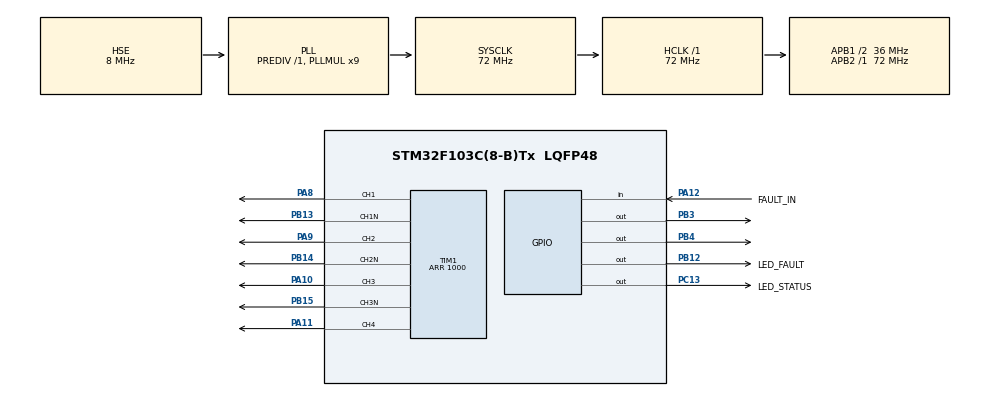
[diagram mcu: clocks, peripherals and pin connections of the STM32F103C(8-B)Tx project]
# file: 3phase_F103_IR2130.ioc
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Dma.Request0=TIM1_UP
Dma.TIM1_UP.0.Direction=DMA_MEMORY_TO_PERIPH
Dma.TIM1_UP.0.Instance=DMA1_Channel5
Dma.TIM1_UP.0.MemDataAlignment=DMA_MDATAALIGN_HALFWORD
Dma.TIM1_UP.0.MemInc=DMA_MINC_ENABLE
Dma.TIM1_UP.0.Mode=DMA_CIRCULAR
Dma.TIM1_UP.0.PeriphDataAlignment=DMA_PDATAALIGN_HALFWORD
Dma.TIM1_UP.0.PeriphInc=DMA_PINC_DISABLE
Dma.TIM1_UP.0.Priority=DMA_PRIORITY_LOW
Mcu.Family=STM32F1
Mcu.Name=STM32F103C(8-B)Tx
Mcu.Package=LQFP48
NVIC.DMA1_Channel5_IRQn=true\:0\:0\:false\:false\:true\:false\:true\:true
NVIC.PriorityGroup=NVIC_PRIORITYGROUP_4
PA10.Signal=S_TIM1_CH3
PA11.Signal=S_TIM1_CH4
PA12.GPIO_Label=FAULT_IN
PA12.Signal=GPIO_Input
PA13.Mode=Serial_Wire
PA13.Signal=SYS_JTMS-SWDIO
PA14.Mode=Serial_Wire
PA14.Signal=SYS_JTCK-SWCLK
PA8.Signal=S_TIM1_CH1
PA9.Signal=S_TIM1_CH2
PB12.GPIO_Label=LED_FAULT
PB12.Signal=GPIO_Output
PB13.Mode=PWM Generation1 CH1 CH1N
PB13.Signal=TIM1_CH1N
PB14.Mode=PWM Generation2 CH2 CH2N
PB14.Signal=TIM1_CH2N
PB15.Mode=PWM Generation3 CH3 CH3N
PB15.Signal=TIM1_CH3N
PB3.Signal=GPIO_Output
PB4.Signal=GPIO_Output
PC13-TAMPER-RTC.GPIO_Label=LED_STATUS
PC13-TAMPER-RTC.Signal=GPIO_Output
PD0-OSC_IN.Mode=HSE-External-Oscillator
PD0-OSC_IN.Signal=RCC_OSC_IN
PD1-OSC_OUT.Mode=HSE-External-Oscillator
PD1-OSC_OUT.Signal=RCC_OSC_OUT
ProjectManager.HeapSize=0x200
ProjectManager.StackSize=0x400
ProjectManager.TargetToolchain=STM32CubeIDE
RCC.AHBFreq_Value=72000000
RCC.APB1CLKDivider=RCC_HCLK_DIV2
RCC.APB1Freq_Value=36000000
RCC.APB1TimFreq_Value=72000000
RCC.APB2Freq_Value=72000000
RCC.APB2TimFreq_Value=72000000
RCC.HCLKFreq_Value=72000000
RCC.PLLMUL=RCC_PLL_MUL9
RCC.PLLSourceVirtual=RCC_PLLSOURCE_HSE
RCC.SYSCLKFreq_VALUE=72000000
RCC.SYSCLKSource=RCC_SYSCLKSOURCE_PLLCLK
RCC.USBFreq_Value=72000000
SH.S_TIM1_CH1.0=TIM1_CH1,PWM Generation1 CH1 CH1N
SH.S_TIM1_CH2.0=TIM1_CH2,PWM Generation2 CH2 CH2N
SH.S_TIM1_CH3.0=TIM1_CH3,PWM Generation3 CH3 CH3N
SH.S_TIM1_CH4.0=TIM1_CH4,PWM Generation4 CH4
TIM1.Channel-PWM\ Generation1\ CH1\ CH1N=TIM_CHANNEL_1
TIM1.Channel-PWM\ Generation2\ CH2\ CH2N=TIM_CHANNEL_2
TIM1.Channel-PWM\ Generation3\ CH3\ CH3N=TIM_CHANNEL_3
TIM1.Channel-PWM\ Generation4\ CH4=TIM_CHANNEL_4
TIM1.DeadTime=0
TIM1.OCIdleState_1=TIM_OCIDLESTATE_SET
TIM1.OCIdleState_2=TIM_OCIDLESTATE_SET
TIM1.OCIdleState_3=TIM_OCIDLESTATE_SET
TIM1.OCNIdleState_1=TIM_OCNIDLESTATE_SET
TIM1.OCNIdleState_2=TIM_OCNIDLESTATE_SET
TIM1.OCNIdleState_3=TIM_OCNIDLESTATE_SET
TIM1.OCNPolarity_1=TIM_OCNPOLARITY_LOW
TIM1.OCNPolarity_2=TIM_OCNPOLARITY_LOW
TIM1.OCNPolarity_3=TIM_OCNPOLARITY_LOW
TIM1.OCPolarity_1=TIM_OCPOLARITY_LOW
TIM1.OCPolarity_2=TIM_OCPOLARITY_LOW
TIM1.OCPolarity_3=TIM_OCPOLARITY_LOW
TIM1.OCPolarity_4=TIM_OCPOLARITY_HIGH
TIM1.Period=1000
board=custom

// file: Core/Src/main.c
/* USER CODE BEGIN Header */
/**
  ******************************************************************************
  * @file           : main.c
  * @brief          : Main program body
  ******************************************************************************
  * @attention
  *
  * Copyright (c) 2023 STMicroelectronics.
  * All rights reserved.
  *
  * This software is licensed under terms that can be found in the LICENSE file
  * in the root directory of this software component.
  * If no LICENSE file comes with this software, it is provided AS-IS.
  *
  ******************************************************************************
  */
/* USER CODE END Header */
#include "main.h"
#include "dma.h"
#include "tim.h"
#include "gpio.h"

/* USER CODE BEGIN Includes */
#include "luts.h"
/* USER CODE END Includes */

/* USER CODE BEGIN PD */
#define PWM_DMA_CHANELS 4

#define TABLE_SIZE (128*1)
#define BURST_SIZE (PWM_DMA_CHANELS * TABLE_SIZE)
/* USER CODE END PD */

/* USER CODE BEGIN PM */

#if (PWM_DMA_CHANELS == 3)
#define SCALE_3PHASE_AMPLITUDE scale_3phase_tables_half
//#define SCALE_3PHASE_AMPLITUDE scale_3phase_tables_zero
#define TIM_DMABURSTLENGTH_NUMBER_TRANSFERS TIM_DMABURSTLENGTH_3TRANSFERS
#elif (PWM_DMA_CHANELS == 4)
#define SCALE_4PHASE_AMPLITUDE scale_4phase_tables_half
//#define SCALE_4PHASE_AMPLITUDE scale_4phase_tables_zero
#define TIM_DMABURSTLENGTH_NUMBER_TRANSFERS TIM_DMABURSTLENGTH_4TRANSFERS
#else
#error "Unsupported number of PWM channels"
#endif

#define SQUEEZE 20 //Squeeze ratio
//#define BUILD_LUT LUT_sine_calculate
#define BUILD_LUT LUT_3sine_calculate
//#define BUILD_LUT LUT_triangle_calculate
//#define BUILD_LUT LUT_const_fill

/* USER CODE END PM */

/* USER CODE BEGIN PV */
/* Private variables ---------------------------------------------------------*/
uint16_t pwm_amplitude;
uint16_t BurstBuffer_reference[BURST_SIZE];
uint16_t BurstBuffer_1[BURST_SIZE];
uint16_t BurstBuffer_2[BURST_SIZE];
volatile uint8_t buffer_selected = 0;
volatile int16_t u_amp, v_amp, w_amp, t_amp;
/* USER CODE END PV */

void SystemClock_Config(void);

int main(void)
{

  /* MCU Configuration--------------------------------------------------------*/

  /* Reset of all peripherals, Initializes the Flash interface and the Systick. */
  HAL_Init();

  /* Configure the system clock */
  SystemClock_Config();

  /* Initialize all configured peripherals */
  MX_GPIO_Init();
  MX_DMA_Init();
  MX_TIM1_Init();
  /* USER CODE BEGIN 2 */

  LUT_set_squeeze(SQUEEZE);

  uint16_t DataArrayU[TABLE_SIZE];
  uint16_t DataArrayV[TABLE_SIZE];
  uint16_t DataArrayW[TABLE_SIZE];
  BUILD_LUT(DataArrayU, TABLE_SIZE, &pwm_amplitude, 0,   400);
  BUILD_LUT(DataArrayV, TABLE_SIZE, &pwm_amplitude, 120, 400);
  BUILD_LUT(DataArrayW, TABLE_SIZE, &pwm_amplitude, 240, 400);

#if (PWM_DMA_CHANELS == 4)
  uint16_t DataArrayT[TABLE_SIZE];
  BUILD_LUT(DataArrayT, TABLE_SIZE, &pwm_amplitude, 90,  400);
#endif
  TIM1->ARR = pwm_amplitude;

  u_amp = 100;
  v_amp = 100;
  w_amp = 100;
  t_amp = 100;

#if (PWM_DMA_CHANELS == 3)
  merge_3phase_tables(BurstBuffer_reference, DataArrayU, DataArrayV, DataArrayW, TABLE_SIZE);
  SCALE_3PHASE_AMPLITUDE(BurstBuffer_1, BurstBuffer_reference, u_amp, v_amp, w_amp, pwm_amplitude, TABLE_SIZE);
  SCALE_3PHASE_AMPLITUDE(BurstBuffer_2, BurstBuffer_reference, u_amp, v_amp, w_amp, pwm_amplitude, TABLE_SIZE);
  TIM1->CCR4 = pwm_amplitude / 2;
#elif (PWM_DMA_CHANELS == 4)
  merge_4phase_tables(BurstBuffer_reference, DataArrayU, DataArrayV, DataArrayW, DataArrayT, TABLE_SIZE);
  SCALE_4PHASE_AMPLITUDE(BurstBuffer_1, BurstBuffer_reference, u_amp, v_amp, w_amp, t_amp, pwm_amplitude, TABLE_SIZE);
  SCALE_4PHASE_AMPLITUDE(BurstBuffer_2, BurstBuffer_reference, u_amp, v_amp, w_amp, t_amp, pwm_amplitude, TABLE_SIZE);
#endif

  if (HAL_GPIO_ReadPin(FAULT_IN_GPIO_Port, FAULT_IN_Pin) == GPIO_PIN_RESET)
  {
   	LED_FAULT_GPIO_Port->ODR &= ~LED_FAULT_Pin;
  } else {
   	LED_FAULT_GPIO_Port->ODR |= LED_FAULT_Pin;
  }
  HAL_Delay(100);

  HAL_TIM_PWM_Start   (&htim1, TIM_CHANNEL_1);
  HAL_TIMEx_PWMN_Start(&htim1, TIM_CHANNEL_1);
  HAL_TIM_PWM_Start   (&htim1, TIM_CHANNEL_2);
  HAL_TIMEx_PWMN_Start(&htim1, TIM_CHANNEL_2);
  HAL_TIM_PWM_Start   (&htim1, TIM_CHANNEL_3);
  HAL_TIMEx_PWMN_Start(&htim1, TIM_CHANNEL_3);
  HAL_TIM_PWM_Start   (&htim1, TIM_CHANNEL_4);

  HAL_TIM_DMABurst_MultiWriteStart(&htim1,
		                           TIM_DMABASE_CCR1,
								   TIM_DMA_UPDATE,
								   (uint32_t*)BurstBuffer_1,
								   TIM_DMABURSTLENGTH_NUMBER_TRANSFERS,
								   BURST_SIZE);
  buffer_selected = 0;

  /* USER CODE END 2 */

  /* Infinite loop */
  /* USER CODE BEGIN WHILE */
#define DYNAMIC_TEST 0//Dynamic test
#if DYNAMIC_TEST //Dynamic test
  int16_t tmp_amp = -100;
  typedef enum
  { UP, DOWN } dir_t;
  dir_t dir = UP;
#endif

  while (1)
  {
#if DYNAMIC_TEST //Dynamic test
	  if (dir == UP)
	  {
	     tmp_amp += 1;
	  } else {
		 tmp_amp -= 1;
	  }

	  if (tmp_amp >= 100)
	  {
		  dir = DOWN;
	  }
	  if (tmp_amp <= -100)
	  {
		  dir = UP;
	  }

	  u_amp = tmp_amp;
	  v_amp = tmp_amp;
	  w_amp = tmp_amp;
#if (PWM_DMA_CHANELS == 4)
	  t_amp = tmp_amp;
#endif
#endif
    /* USER CODE END WHILE */

    /* USER CODE BEGIN 3 */
    HAL_Delay(20);
    LED_STATUS_GPIO_Port->ODR ^= LED_STATUS_Pin;

    if (HAL_GPIO_ReadPin(FAULT_IN_GPIO_Port, FAULT_IN_Pin) == GPIO_PIN_RESET)
    {
    	LED_FAULT_GPIO_Port->ODR &= ~LED_FAULT_Pin;
    } else {
    	LED_FAULT_GPIO_Port->ODR |= LED_FAULT_Pin;
    }
  }
  /* USER CODE END 3 */
}

void SystemClock_Config(void)
{
  RCC_OscInitTypeDef RCC_OscInitStruct = {0};
  RCC_ClkInitTypeDef RCC_ClkInitStruct = {0};

  /** Initializes the RCC Oscillators according to the specified parameters
  * in the RCC_OscInitTypeDef structure.
  */
  RCC_OscInitStruct.OscillatorType = RCC_OSCILLATORTYPE_HSE;
  RCC_OscInitStruct.HSEState = RCC_HSE_ON;
  RCC_OscInitStruct.HSEPredivValue = RCC_HSE_PREDIV_DIV1;
  RCC_OscInitStruct.HSIState = RCC_HSI_ON;
  RCC_OscInitStruct.PLL.PLLState = RCC_PLL_ON;
  RCC_OscInitStruct.PLL.PLLSource = RCC_PLLSOURCE_HSE;
  RCC_OscInitStruct.PLL.PLLMUL = RCC_PLL_MUL9;
  if (HAL_RCC_OscConfig(&RCC_OscInitStruct) != HAL_OK)
  {
    Error_Handler();
  }

  /** Initializes the CPU, AHB and APB buses clocks
  */
  RCC_ClkInitStruct.ClockType = RCC_CLOCKTYPE_HCLK|RCC_CLOCKTYPE_SYSCLK
                              |RCC_CLOCKTYPE_PCLK1|RCC_CLOCKTYPE_PCLK2;
  RCC_ClkInitStruct.SYSCLKSource = RCC_SYSCLKSOURCE_PLLCLK;
  RCC_ClkInitStruct.AHBCLKDivider = RCC_SYSCLK_DIV1;
  RCC_ClkInitStruct.APB1CLKDivider = RCC_HCLK_DIV2;
  RCC_ClkInitStruct.APB2CLKDivider = RCC_HCLK_DIV1;

  if (HAL_RCC_ClockConfig(&RCC_ClkInitStruct, FLASH_LATENCY_2) != HAL_OK)
  {
    Error_Handler();
  }
}

/* USER CODE BEGIN 4 */

void HAL_TIM_PeriodElapsedHalfCpltCallback(TIM_HandleTypeDef *htim)
{
  if(htim->Instance == TIM1)
    {
      GPIOB->ODR &= ~GPIO_PIN_3;

#if (PWM_DMA_CHANELS == 3)
      if (buffer_selected == 0)
      {
    	  SCALE_3PHASE_AMPLITUDE(BurstBuffer_2, BurstBuffer_reference, u_amp, v_amp, w_amp, pwm_amplitude, TABLE_SIZE);
      } else {
    	  SCALE_3PHASE_AMPLITUDE(BurstBuffer_1, BurstBuffer_reference, u_amp, v_amp, w_amp, pwm_amplitude, TABLE_SIZE);
      }
#elif (PWM_DMA_CHANELS == 4)
      if (buffer_selected == 0)
      {
    	  SCALE_4PHASE_AMPLITUDE(BurstBuffer_2, BurstBuffer_reference, u_amp, v_amp, w_amp, t_amp, pwm_amplitude, TABLE_SIZE);
      } else {
    	  SCALE_4PHASE_AMPLITUDE(BurstBuffer_1, BurstBuffer_reference, u_amp, v_amp, w_amp, t_amp, pwm_amplitude, TABLE_SIZE);
      }
#endif

      GPIOB->ODR |= GPIO_PIN_3;

    }
}

void HAL_TIM_PeriodElapsedCallback(TIM_HandleTypeDef *htim)
{
  if(htim->Instance == TIM1)
    {
      GPIOB->ODR |= GPIO_PIN_4;

      if (buffer_selected == 0)
      {
    	  HAL_TIM_DMABurst_MultiWriteStart(&htim1,
    	  		                           TIM_DMABASE_CCR1,
    	  								   TIM_DMA_UPDATE,
    	  								   (uint32_t*)BurstBuffer_1,
										   TIM_DMABURSTLENGTH_NUMBER_TRANSFERS,
    	  								   BURST_SIZE);
    	  buffer_selected = 1;
      } else {
    	  HAL_TIM_DMABurst_MultiWriteStart(&htim1,
    	  		                           TIM_DMABASE_CCR1,
    	  								   TIM_DMA_UPDATE,
    	  								   (uint32_t*)BurstBuffer_2,
										   TIM_DMABURSTLENGTH_NUMBER_TRANSFERS,
    	  								   BURST_SIZE);
    	  buffer_selected = 0;
      }

      GPIOB->ODR &= ~GPIO_PIN_4;

    }
}
/* USER CODE END 4 */

void Error_Handler(void)
{
  /* USER CODE BEGIN Error_Handler_Debug */
  /* User can add his own implementation to report the HAL error return state */
  __disable_irq();
  while(1)
  {
	  HAL_Delay(1000);
	  LED_STATUS_GPIO_Port->ODR ^= LED_STATUS_Pin;
  };
  /* USER CODE END Error_Handler_Debug */
}

#ifdef  USE_FULL_ASSERT
/**
  * @brief  Reports the name of the source file and the source line number
  *         where the assert_param error has occurred.
  * @param  file: pointer to the source file name
  * @param  line: assert_param error line source number
  * @retval None
  */
void assert_failed(uint8_t *file, uint32_t line)
{
  /* USER CODE BEGIN 6 */
  while(1)
  {
	 HAL_Delay(1500);
	 LED_STATUS_GPIO_Port->ODR ^= LED_STATUS_Pin;
   };
  /* User can add his own implementation to report the file name and line number,
    ex: printf("Wrong parameters value: file %s on line %d\r\n", file, line) */
  /* USER CODE END 6 */
}
#endif /* USE_FULL_ASSERT */
